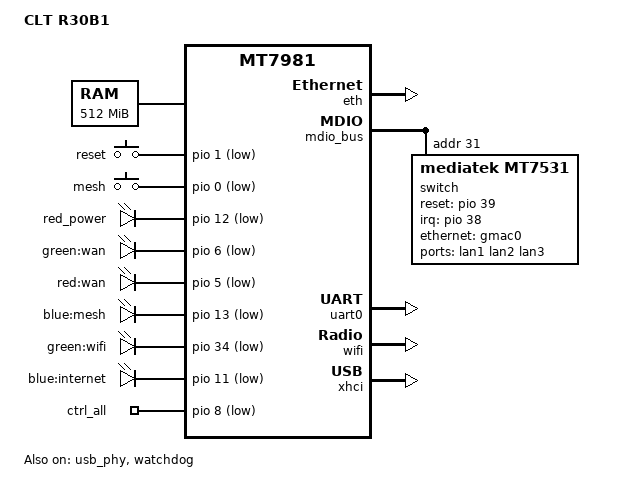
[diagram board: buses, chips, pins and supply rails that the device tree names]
// SPDX-License-Identifier: GPL-2.0-or-later OR MIT
/*
 * Copyright (C) 2023 Tianling Shen <cnsztl@immortalwrt.org>
 */

/dts-v1/;
#include <dt-bindings/gpio/gpio.h>
#include <dt-bindings/input/input.h>

#include "mt7981.dtsi"

/ {
	model = "CLT R30B1";
	compatible = "clt,r30b1", "mediatek,mt7981";

	aliases {
		led-boot = &red_led;
		led-failsafe = &red_led;
		led-running = &green_led;
		led-upgrade = &green_led;
		serial0 = &uart0;
	};

	chosen {
		stdout-path = "serial0:115200n8";
	};

	memory {
		reg = <0 0x40000000 0 0x20000000>;
	};

	gpio-keys {
		compatible = "gpio-keys";

		button-reset {
			label = "reset";
			linux,code = <KEY_RESTART>;
			gpios = <&pio 1 GPIO_ACTIVE_LOW>;
		};

		button-mesh {
			label = "mesh";
			linux,code = <BTN_9>;
			linux,input-type = <EV_SW>;
			gpios = <&pio 0 GPIO_ACTIVE_LOW>;
		};
	};

leds {
		compatible = "gpio-leds";

		power_led: power_red {
			label = "red_power";
			gpios = <&pio 12 GPIO_ACTIVE_LOW>;
			default-state = "on";
			linux,default-trigger = "default-on";
		};

		system_led: wan_green {
			label = "green:wan";
			gpios = <&pio 6 GPIO_ACTIVE_LOW>;
		};

		wan_red {
			label = "red:wan";
			gpios = <&pio 5 GPIO_ACTIVE_LOW>;
		};

		mesh_blue {
			label = "blue:mesh";
			gpios = <&pio 13 GPIO_ACTIVE_LOW>;
		};

		wifi_green {
			label = "green:wifi";
			gpios = <&pio 34 GPIO_ACTIVE_LOW>;
		};

		internet_blue {
			label = "blue:internet";
			gpios = <&pio 11 GPIO_ACTIVE_LOW>;
		};

		all_ctrl {
			label = "ctrl_all";
			gpios = <&pio 8 GPIO_ACTIVE_LOW>;
			default-state = "on";
			linux,default-trigger = "default-on";
		};
	};



};

&eth {
	status = "okay";

	gmac0: mac@0 {
		compatible = "mediatek,eth-mac";
		reg = <0>;
		phy-mode = "2500base-x";

		fixed-link {
			speed = <2500>;
			full-duplex;
			pause;
		};
	};

	gmac1: mac@1 {
		compatible = "mediatek,eth-mac";
		reg = <1>;
		phy-mode = "gmii";
		phy-handle = <&int_gbe_phy>;
	};
};

&mdio_bus {
	switch: switch@1f {
		compatible = "mediatek,mt7531";
		reg = <31>;
		reset-gpios = <&pio 39 GPIO_ACTIVE_HIGH>;
		interrupt-controller;
		#interrupt-cells = <1>;
		interrupt-parent = <&pio>;
		interrupts = <38 IRQ_TYPE_LEVEL_HIGH>;
	};
};

&switch {
	ports {
		#address-cells = <1>;
		#size-cells = <0>;

		port@0 {
			reg = <0>;
			label = "lan1";
		};

		port@1 {
			reg = <1>;
			label = "lan2";
		};

		port@2 {
			reg = <2>;
			label = "lan3";
		};

		port@6 {
			reg = <6>;
			ethernet = <&gmac0>;
			phy-mode = "2500base-x";

			fixed-link {
				speed = <2500>;
				full-duplex;
				pause;
			};
		};
	};
};

&uart0 {
	status = "okay";
};

&usb_phy {
	status = "okay";
};

&watchdog {
	status = "okay";
};

&wifi {
	status = "okay";
};

&xhci {
	status = "okay";
};
